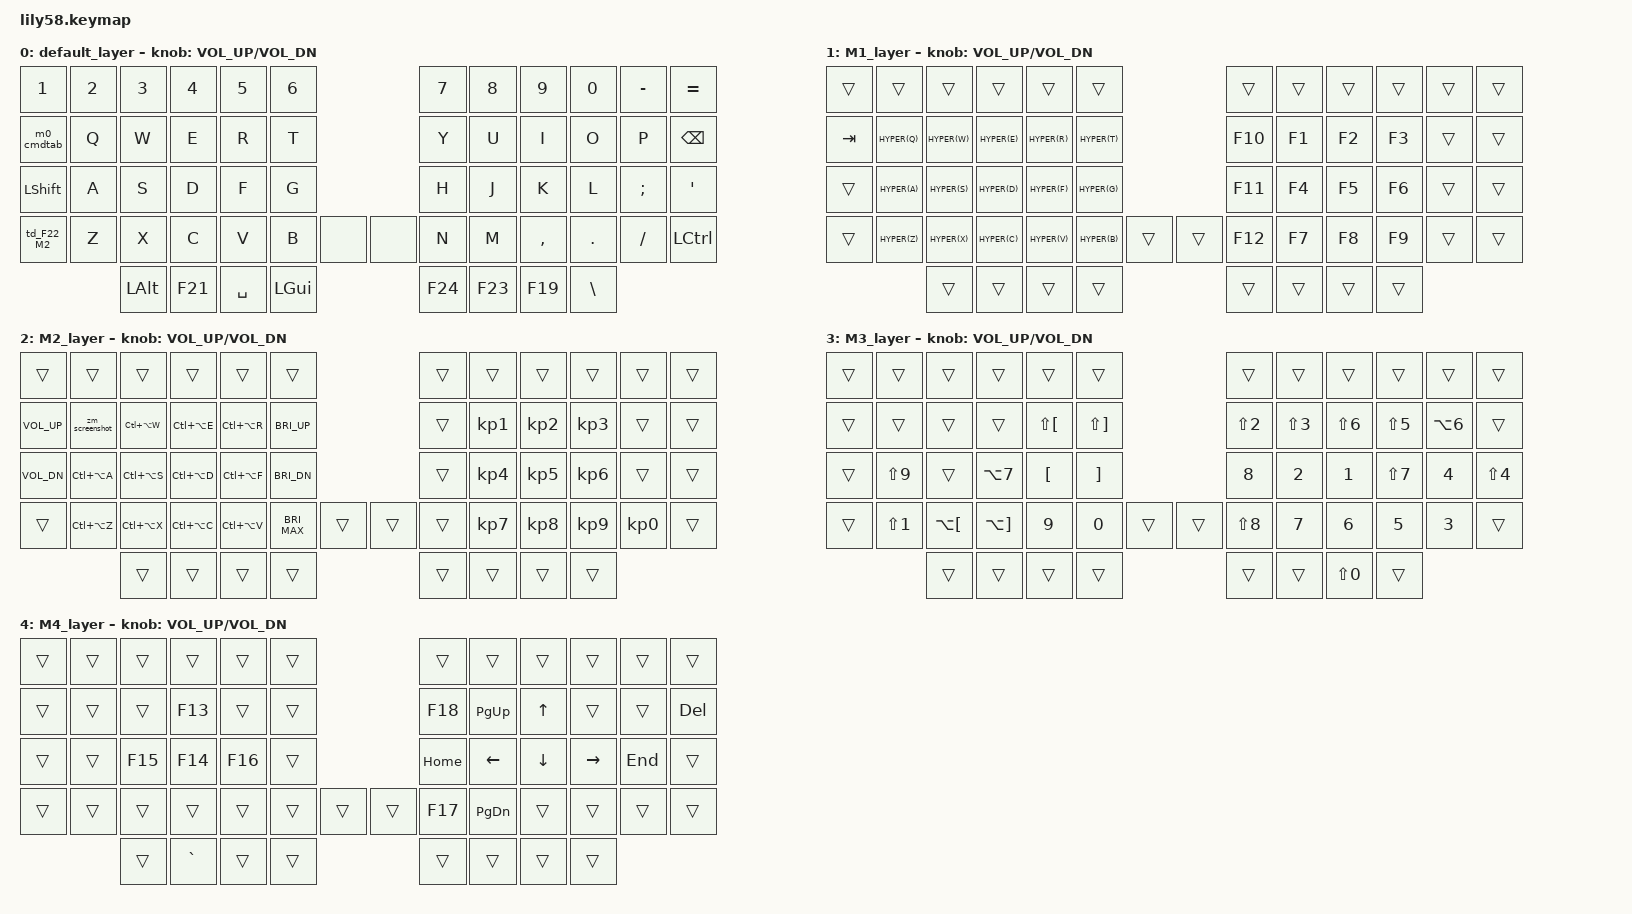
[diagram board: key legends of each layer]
#include <behaviors.dtsi>
#include <dt-bindings/zmk/keys.h>
#include <dt-bindings/zmk/bt.h>
#include <dt-bindings/zmk/ext_power.h>
#include <dt-bindings/zmk/outputs.h>

// timeout for tap-dance
#define TD_TIMEOUT         150
#define TD_TIMEOUT_LONG    300

#define BASE 0
#define M1   1
#define M2   2
#define M3   3
#define M4   4

#define GO_DSK_1    LC(N1)        // show desktop 1
#define MV_DKS_1    LC(LS(N1))    // move window to desktop 1
#define GO_DSK_2    LC(N2)        // show desktop 2
#define MV_DKS_2    LC(LS(N2))    // move window to desktop 2
#define GO_DSK_3    LC(N3)        // show desktop 3
#define MV_DKS_3    LC(LS(N3))    // move window to desktop 3
#define SCREENSH    LG(LS(N4))    // macos screenshot tool (area)

// window manager
#define W_MAN_W     LC(LA(W))
#define W_MAN_E     LC(LA(E))
#define W_MAN_R     LC(LA(R))
#define W_MAN_T     LC(LA(T))
#define W_MAN_A     LC(LA(A))
#define W_MAN_S     LC(LA(S))
#define W_MAN_D     LC(LA(D))
#define W_MAN_F     LC(LA(F))
#define W_MAN_G     LC(LA(G))
#define W_MAN_Z     LC(LA(Z))
#define W_MAN_X     LC(LA(X))
#define W_MAN_C     LC(LA(C))
#define W_MAN_V     LC(LA(V))
#define W_MAN_B     LC(LA(B))

#define DEL_WORD    LA(BSPC)      // delete word back

#define SQUOTE      N1            // remaped '
#define DQUOTE      N2            // remaped "
#define MY_QMARK    N3            // remaped ?
#define MY_EXMARK   N4            // remaped !
#define MY_DOT      N5            // remaped .
#define MY_COM      N6            // remaped ,
#define MY_PLS      N7            // remaped +
#define MY_MIN      N8            // remaped -
#define MY_LBRKT    N9            // remaped (
#define MY_RBRKT    N0            // remaped )
#define MY_PRC      LS(N1)        // remaped %
#define MY_AT       LS(N2)        // remaped @
#define MY_HASH     LS(N3)        // remaped #
#define MY_DOLL     LS(N4)        // remaped $
#define MY_SMCOL    LS(N5)        // remaped ;
#define MY_COLON    LS(N6)        // remaped :
#define MY_ASTER    LS(N7)        // remaped *
#define MY_UNDER    LS(N8)        // remaped _
#define MY_EQUAL    LS(N9)        // remaped =
#define MY_BSLH     LS(N0)        // remaped backslash

#define CIR_FLEX    LA(N6)        // remaped ^
#define MY_AND      LA(N7)        // remaped &

#define MY_LCURL    LS(LBKT)      // remaped {
#define MY_RCURL    LS(RBKT)      // remaped }
#define MY_LSQBR    LBKT          // remaped [
#define MY_RSQBR    RBKT          // remaped ]
#define MY_LANBR    LA(LBKT)      // remaped <
#define MY_RANBR    LA(RBKT)      // remaped >

#define HYPER(key) LC(LS(LA(LG(key))))
#define HYP_ESC    HYPER(ESC)
#define HYP_Q      HYPER(Q)
#define HYP_W      HYPER(W)
#define HYP_E      HYPER(E)
#define HYP_R      HYPER(R)
#define HYP_T      HYPER(T)
#define HYP_A      HYPER(A)
#define HYP_S      HYPER(S)
#define HYP_D      HYPER(D)
#define HYP_F      HYPER(F)
#define HYP_G      HYPER(G)
#define HYP_Z      HYPER(Z)
#define HYP_X      HYPER(X)
#define HYP_C      HYPER(C)
#define HYP_V      HYPER(V)
#define HYP_B      HYPER(B)

/ {
    behaviors {
        m0_cmdtab: m0_cmdtab {
            compatible = "zmk,behavior-mod-morph";
            label = "m0_cmdtab";
            #binding-cells = <0>;
            bindings = <&mt F20 ESC>, <&kp TAB>;
            mods = <(MOD_LGUI)>;
            keep-mods = <(MOD_LGUI)>;
        };
        m1_grave_bslh: m1_grave_bslh {
            compatible = "zmk,behavior-mod-morph";
            label = "grave_bslh";
            #binding-cells = <0>;
            bindings = <&lt M1 BSLH>, <&kp GRAVE>;
            mods = <(MOD_LGUI)>;
            keep-mods = <(MOD_LGUI)>;
        };
    };

    macros {
        zm_screenshot: zm_screenshot {
            label = "zm_screenshot";
            compatible = "zmk,behavior-macro";
            #binding-cells = <0>;
            bindings
                = <&macro_press &kp LGUI &kp LSHIFT>
                , <&macro_tap &kp N4>
                , <&macro_release &kp LGUI &kp LSHIFT>
                ;
        };
    };
    behaviors {
        td_F21_F20: td_F21_F20 {
            compatible = "zmk,behavior-tap-dance";
            label = "td_F21_F20";
            #binding-cells = <0>;
            tapping-term-ms = <TD_TIMEOUT_LONG>;
            bindings = <&kp F21>, <&kp F20>;
        };
        td_F22_M2: td_F22_M2 {
            compatible = "zmk,behavior-tap-dance";
            label = "td_F22_M2";
            #binding-cells = <0>;
            tapping-term-ms = <TD_TIMEOUT_LONG>;
            bindings = <&kp F22>, <&mo M2>;
        };
        td_F23_M3: td_F23_M3 {
            compatible = "zmk,behavior-tap-dance";
            label = "td_F23_M3";
            #binding-cells = <0>;
            tapping-term-ms = <TD_TIMEOUT_LONG>;
            bindings = <&kp F23>, <&mo M3>;
        };
        td_F24_M4: td_F24_M4 {
            compatible = "zmk,behavior-tap-dance";
            label = "td_F24_M4";
            #binding-cells = <0>;
            tapping-term-ms = <TD_TIMEOUT_LONG>;
            bindings = <&kp F24>, <&mo M4>;
        };
        td_dsk_1: td_dsk_1 {
            compatible = "zmk,behavior-tap-dance";
            label = "td_dsk_1";
            #binding-cells = <0>;
            tapping-term-ms = <TD_TIMEOUT>;
            bindings = <&kp GO_DSK_1>, <&kp MV_DKS_1>;
        };
        td_dsk_2: td_dsk_2 {
            compatible = "zmk,behavior-tap-dance";
            label = "td_dsk_2";
            #binding-cells = <0>;
            tapping-term-ms = <TD_TIMEOUT>;
            bindings = <&kp GO_DSK_2>, <&kp MV_DKS_2>;
        };
        td_dsk_3: td_dsk_3 {
            compatible = "zmk,behavior-tap-dance";
            label = "td_dsk_3";
            #binding-cells = <0>;
            tapping-term-ms = <TD_TIMEOUT>;
            bindings = <&kp GO_DSK_3>, <&kp MV_DKS_3>;
        };
        td_shift_caps: td_shift_caps {
            compatible = "zmk,behavior-tap-dance";
            label = "td_shift_caps";
            #binding-cells = <0>;
            tapping-term-ms = <TD_TIMEOUT_LONG>;
            bindings = <&kp LSHFT>, <&kp CAPS>;
        };
    };
    combos {
        compatible = "zmk,combos";

        combo_out_tog {
            timeout-ms = <50>;
            key-positions = <37 53>;
            bindings = <&out OUT_TOG>;
        };
        // BT combos
        combo_bt_sel_0 {
            timeout-ms = <50>;
            key-positions = <38 53>; // Lower + 6
            bindings = <&bt BT_SEL 0>;
        };
        combo_bt_sel_1 {
            timeout-ms = <50>;
            key-positions = <39 53>; // Lower + 7
            bindings = <&bt BT_SEL 1>;
        };
        combo_bt_clr {
            timeout-ms = <50>;
            key-positions = <51 53>; // Lower + LGUI
            bindings = <&bt BT_CLR>;
        };

        // Layers toggle
        // combo_base_right {
        //     timeout-ms = <150>;
        //     key-positions = <11 54>;
        //     bindings = <&to BASE>;
        // };
        // combo_base_left {
        //     timeout-ms = <150>;
        //     key-positions = <53 0>;
        //     bindings = <&to BASE>;
        // };

        // Media combos
        combo_play_pause {
            timeout-ms = <50>;
            key-positions = <4 5>;
            bindings = <&kp C_PP>;
        };
        combo_media_next {
            timeout-ms = <50>;
            key-positions = <5 17>;
            bindings = <&kp C_NEXT>;
        };
        combo_media_prev {
            timeout-ms = <50>;
            key-positions = <17 29>;
            bindings = <&kp C_PREV>;
        };

        // TAB
        combo_tab {
            timeout-ms = <75>;
            key-positions = <12 13>;
            bindings = <&kp TAB>;
        };
        // // CAPS
        // combo_caps {
        //     timeout-ms = <150>;
        //     key-positions = <24 53>;
        //     bindings = <&kp CAPS>;
        // };
    };

    keymap {
        compatible = "zmk,keymap";

        default_layer {
            // +---------------------------------------------------------------------------------------------------------------------------------------------------------+
            // |          |          |          |          |          |          |                        |          |          |          |          |          |       |
            // |          |          |          |          |          |          |                        |          |          |          |          |          |       |
            // |          |          |          |          |          |          |                        |          |          |          |          |          |       |
            // |          |          |          |          |          |          |          |  |          |          |          |          |          |          |       |
            //                                  |          |          |          |          |  |          |          |          |          |
            bindings = <
                &kp N1      &kp N2      &kp N3      &kp N4      &kp N5      &kp N6                           &kp N7      &kp N8      &kp N9      &kp N0      &kp MINUS   &kp EQUAL
                &m0_cmdtab  &kp Q       &kp W       &kp E       &kp R       &kp T                            &kp Y       &kp U       &kp I       &kp O       &kp P       &kp BSPC
                &kp LSHFT   &kp A       &kp S       &kp D       &kp F       &kp G                            &kp H       &kp J       &kp K       &kp L       &kp SEMI    &kp APOS
                &td_F22_M2  &kp Z       &kp X       &kp C       &kp V       &kp B      &none       &none     &kp N       &kp M       &kp COMMA   &kp DOT     &kp FSLH    &kp LCTRL
                                        &kp LALT    &kp F21     &kp SPACE   &kp LGUI                         &kp F24     &kp F23     &kp F19     &kp BSLH
            >;

            sensor-bindings = <&inc_dec_kp C_VOL_UP C_VOL_DN>;
        };

        M1_layer { // RED
            // +------------------------------------------------------------------------------------------------------------------------------------------------------------+
            // |          |          |          |          |          |          |                        |          |          |          |          |          |          |
            // |          |          |          |          |          |          |                        |          |          |          |          |          |          |
            // |          |          |          |          |          |          |                        |          |          |          |          |          |          |
            // |          |          |          |          |          |          |          |  |          |          |          |          |          |          |          |
            //                                  |          |          |          |          |  |          |          |          |          |
            bindings = <
                &trans   &trans     &trans     &trans     &trans     &trans                         &trans   &trans  &trans    &trans  &trans    &trans
                &kp TAB  &kp HYP_Q  &kp HYP_W  &kp HYP_E  &kp HYP_R  &kp HYP_T                      &kp F10  &kp F1  &kp F2    &kp F3  &trans    &trans
                &trans   &kp HYP_A  &kp HYP_S  &kp HYP_D  &kp HYP_F  &kp HYP_G                      &kp F11  &kp F4  &kp F5    &kp F6  &trans    &trans
                &trans   &kp HYP_Z  &kp HYP_X  &kp HYP_C  &kp HYP_V  &kp HYP_B  &trans      &trans  &kp F12  &kp F7  &kp F8    &kp F9  &trans    &trans
                                    &trans     &trans     &trans     &trans                         &trans   &trans  &trans    &trans
            >;

            sensor-bindings = <&inc_dec_kp C_VOL_UP C_VOL_DN>;
        };

        M2_layer { // BLUE
            // +------------------------------------------------------------------------------------------------------------------------------------------------------------+
            // |          |          |          |          |          |          |                        |          |          |          |          |          |          |
            // |          |          |          |          |          |          |                        |          |          |          |          |          |          |
            // |          |          |          |          |          |          |                        |          |          |          |          |          |          |
            // |          |          |          |          |          |          |          |  |          |          |          |          |          |          |          |
            //                                  |          |          |          |          |  |          |          |          |          |
            bindings = <
                &trans        &trans          &trans          &trans         &trans          &trans                              &trans  &trans     &trans     &trans     &trans     &trans
                &kp C_VOL_UP  &zm_screenshot  &kp W_MAN_W     &kp W_MAN_E    &kp W_MAN_R     &kp C_BRI_UP                        &trans  &kp KP_N1  &kp KP_N2  &kp KP_N3  &trans     &trans
                &kp C_VOL_DN  &kp W_MAN_A     &kp W_MAN_S     &kp W_MAN_D    &kp W_MAN_F     &kp C_BRI_DN                        &trans  &kp KP_N4  &kp KP_N5  &kp KP_N6  &trans     &trans
                &trans        &kp W_MAN_Z     &kp W_MAN_X     &kp W_MAN_C    &kp W_MAN_V     &kp C_BRI_MAX   &trans      &trans  &trans  &kp KP_N7  &kp KP_N8  &kp KP_N9  &kp KP_N0  &trans
                                              &trans          &trans         &trans          &trans                              &trans  &trans     &trans     &trans
            >;

            sensor-bindings = <&inc_dec_kp C_VOL_UP C_VOL_DN>;
        };

        M3_layer { // MINT
            // +------------------------------------------------------------------------------------------------------------------------------------------------------------+
            // |          |          |          |          |          |          |                        |          |          |          |          |          |          |
            // |          |          |          |          |          |          |                        |          |          |          |          |          |          |
            // |          |          |          |          |          |          |                        |          |          |          |          |          |          |
            // |          |          |          |          |          |          |          |  |          |          |          |          |          |          |          |
            //                                  |          |          |          |          |  |          |          |          |          |
            bindings = <
                &trans  &trans        &trans        &trans        &trans         &trans                              &trans        &trans        &trans         &trans         &trans         &trans
                &trans  &trans        &trans        &trans        &kp MY_LCURL   &kp MY_RCURL                        &kp MY_AT     &kp MY_HASH   &kp MY_COLON   &kp MY_SMCOL   &kp CIR_FLEX   &trans
                &trans  &kp MY_EQUAL  &trans        &kp MY_AND    &kp MY_LSQBR   &kp MY_RSQBR                        &kp MY_MIN    &kp DQUOTE    &kp SQUOTE     &kp MY_ASTER   &kp MY_EXMARK  &kp MY_DOLL
                &trans  &kp MY_PRC    &kp MY_LANBR  &kp MY_RANBR  &kp MY_LBRKT   &kp MY_RBRKT  &trans        &trans  &kp MY_UNDER  &kp MY_PLS    &kp MY_COM     &kp MY_DOT     &kp MY_QMARK   &trans
                                      &trans        &trans        &trans         &trans                              &trans        &trans        &kp MY_BSLH    &trans
            >;

            sensor-bindings = <&inc_dec_kp C_VOL_UP C_VOL_DN>;
        };

        M4_layer { // GREEN
            // +---------------------------------------------------------------------------------------------------------------------------------------------------------+
            // |          |          |          |          |          |          |                        |          |          |          |          |          |       |
            // |          |          |          |          |          |          |                        |          |          |          |          |          |       |
            // |          |          |          |          |          |          |                        |          |          |          |          |          |       |
            // |          |          |          |          |          |          |          |  |          |          |          |          |          |          |       |
            //                                  |          |          |          |          |  |          |          |          |          |
            bindings = <
                &trans  &trans  &trans   &trans     &trans   &trans                        &trans     &trans      &trans     &trans     &trans     &trans
                &trans  &trans  &trans   &kp F13    &trans   &trans                        &kp F18    &kp PG_UP   &kp UP     &trans     &trans     &kp DEL
                &trans  &trans  &kp F15  &kp F14    &kp F16  &trans                        &kp HOME   &kp LEFT    &kp DOWN   &kp RIGHT  &kp END    &trans
                &trans  &trans  &trans   &trans     &trans   &trans  &trans        &trans  &kp F17    &kp PG_DN   &trans     &trans     &trans     &trans
                                &trans   &kp GRAVE  &trans   &trans                        &trans     &trans      &trans     &trans
            >;

            sensor-bindings = <&inc_dec_kp C_VOL_UP C_VOL_DN>;
        };
    };
};
